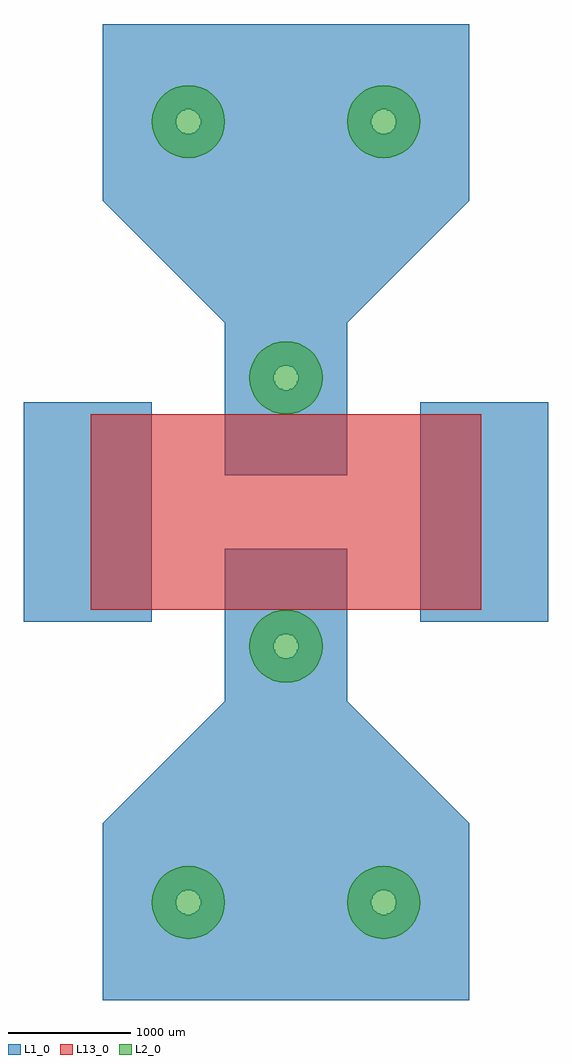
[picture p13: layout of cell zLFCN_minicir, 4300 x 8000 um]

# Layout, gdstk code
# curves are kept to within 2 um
import gdstk
lib = gdstk.Library(unit=1e-6, precision=1e-09)
def R(c, l, rs):  # rectangles x0, y0, x1, y1
    for r in rs: c.add(gdstk.rectangle(r[:2], r[2:], *l))
def P(c, l, *ps):  # polygons
    for p in ps: c.add(gdstk.Polygon(p, *l))
L1_0 = (1, 0)
L2_0 = (2, 0)
L13_0 = (13, 0)

zlfcn_minicir = lib.new_cell('zLFCN_minicir')
R(zlfcn_minicir, L1_0, [(-2150,-900,-1100,900), (1100,-900,2150,900)])
P(zlfcn_minicir, L1_0, [(780,3100),(770,3110),(750,3110),(710,3150),(710,3170),(700,3180),(700,3220),(710,3230),(710,3250),(750,3290),(770,3290),(780,3300),(820,3300),(830,3290),(850,3290),(890,3250),(890,3230),(900,3220),(900,3180),(890,3170),(890,3150),(850,3110),(830,3110),(820,3100),(800,3100),(800,1850),(1500,2550),(1500,4000),(-1500,4000),(-1500,2550),(-800,1850),(-800,3100),(-820,3100),(-830,3110),(-850,3110),(-890,3150),(-890,3170),(-900,3180),(-900,3220),(-890,3230),(-890,3250),(-850,3290),(-830,3290),(-820,3300),(-780,3300),(-770,3290),(-750,3290),(-710,3250),(-710,3230),(-700,3220),(-700,3180),(-710,3170),(-710,3150),(-750,3110),(-770,3110),(-780,3100),(-800,3100),(-800,1850),(-500,1550),(500,1550),(800,1850),(800,3100)],
  [(-820,-3300),(-830,-3290),(-850,-3290),(-890,-3250),(-890,-3230),(-900,-3220),(-900,-3180),(-890,-3170),(-890,-3150),(-850,-3110),(-830,-3110),(-820,-3100),(-780,-3100),(-770,-3110),(-750,-3110),(-710,-3150),(-710,-3170),(-700,-3180),(-700,-3220),(-710,-3230),(-710,-3250),(-750,-3290),(-770,-3290),(-780,-3300),(-800,-3300),(-800,-4000),(800,-4000),(800,-3300),(780,-3300),(770,-3290),(750,-3290),(710,-3250),(710,-3230),(700,-3220),(700,-3180),(710,-3170),(710,-3150),(750,-3110),(770,-3110),(780,-3100),(820,-3100),(830,-3110),(850,-3110),(890,-3150),(890,-3170),(900,-3180),(900,-3220),(890,-3230),(890,-3250),(850,-3290),(830,-3290),(820,-3300),(800,-3300),(800,-4000),(1500,-4000),(1500,-2550),(500,-1550),(-500,-1550),(-1500,-2550),(-1500,-4000),(-800,-4000),(-800,-3300)],
  [(-20,1000),(-30,1010),(-50,1010),(-90,1050),(-90,1070),(-100,1080),(-100,1120),(-90,1130),(-90,1150),(-50,1190),(-30,1190),(-20,1200),(20,1200),(30,1190),(50,1190),(90,1150),(90,1130),(100,1120),(100,1080),(90,1070),(90,1050),(50,1010),(30,1010),(20,1000),(0,1000),(0,300),(500,300),(500,1550),(-500,1550),(-500,300),(0,300),(0,1000)],
  [(-20,-1200),(-30,-1190),(-50,-1190),(-90,-1150),(-90,-1130),(-100,-1120),(-100,-1080),(-90,-1070),(-90,-1050),(-50,-1010),(-30,-1010),(-20,-1000),(20,-1000),(30,-1010),(50,-1010),(90,-1050),(90,-1070),(100,-1080),(100,-1120),(90,-1130),(90,-1150),(50,-1190),(30,-1190),(20,-1200),(0,-1200),(0,-1550),(500,-1550),(500,-300),(-500,-300),(-500,-1550),(0,-1550),(0,-1200)])
P(zlfcn_minicir, L2_0, [(1100,-3200),(1095.442,-3252.094),(1081.908,-3302.606),(1059.808,-3350),(1029.813,-3392.836),(992.836,-3429.813),(950,-3459.808),(902.606,-3481.908),(852.094,-3495.442),(800,-3500),(747.906,-3495.442),(697.394,-3481.908),(650,-3459.808),(607.164,-3429.813),(570.187,-3392.836),(540.192,-3350),(518.092,-3302.606),(504.558,-3252.094),(500,-3200),(504.558,-3147.906),(518.092,-3097.394),(540.192,-3050),(570.187,-3007.164),(607.164,-2970.187),(650,-2940.192),(697.394,-2918.092),(747.906,-2904.558),(800,-2900),(852.094,-2904.558),(902.606,-2918.092),(950,-2940.192),(992.836,-2970.187),(1029.813,-3007.164),(1059.808,-3050),(1081.908,-3097.394),(1095.442,-3147.906)],
  [(-500,3200),(-504.558,3147.906),(-518.092,3097.394),(-540.192,3050),(-570.187,3007.164),(-607.164,2970.187),(-650,2940.192),(-697.394,2918.092),(-747.906,2904.558),(-800,2900),(-852.094,2904.558),(-902.606,2918.092),(-950,2940.192),(-992.836,2970.187),(-1029.813,3007.164),(-1059.808,3050),(-1081.908,3097.394),(-1095.442,3147.906),(-1100,3200),(-1095.442,3252.094),(-1081.908,3302.606),(-1059.808,3350),(-1029.813,3392.836),(-992.836,3429.813),(-950,3459.808),(-902.606,3481.908),(-852.094,3495.442),(-800,3500),(-747.906,3495.442),(-697.394,3481.908),(-650,3459.808),(-607.164,3429.813),(-570.187,3392.836),(-540.192,3350),(-518.092,3302.606),(-504.558,3252.094)],
  [(1100,3200),(1095.442,3147.906),(1081.908,3097.394),(1059.808,3050),(1029.813,3007.164),(992.836,2970.187),(950,2940.192),(902.606,2918.092),(852.094,2904.558),(800,2900),(747.906,2904.558),(697.394,2918.092),(650,2940.192),(607.164,2970.187),(570.187,3007.164),(540.192,3050),(518.092,3097.394),(504.558,3147.906),(500,3200),(504.558,3252.094),(518.092,3302.606),(540.192,3350),(570.187,3392.836),(607.164,3429.813),(650,3459.808),(697.394,3481.908),(747.906,3495.442),(800,3500),(852.094,3495.442),(902.606,3481.908),(950,3459.808),(992.836,3429.813),(1029.813,3392.836),(1059.808,3350),(1081.908,3302.606),(1095.442,3252.094)],
  [(300,-1100),(295.442,-1152.094),(281.908,-1202.606),(259.808,-1250),(229.813,-1292.836),(192.836,-1329.813),(150,-1359.808),(102.606,-1381.908),(52.094,-1395.442),(0,-1400),(-52.094,-1395.442),(-102.606,-1381.908),(-150,-1359.808),(-192.836,-1329.813),(-229.813,-1292.836),(-259.808,-1250),(-281.908,-1202.606),(-295.442,-1152.094),(-300,-1100),(-295.442,-1047.906),(-281.908,-997.394),(-259.808,-950),(-229.813,-907.164),(-192.836,-870.187),(-150,-840.192),(-102.606,-818.092),(-52.094,-804.558),(0,-800),(52.094,-804.558),(102.606,-818.092),(150,-840.192),(192.836,-870.187),(229.813,-907.164),(259.808,-950),(281.908,-997.394),(295.442,-1047.906)],
  [(300,1100),(295.442,1047.906),(281.908,997.394),(259.808,950),(229.813,907.164),(192.836,870.187),(150,840.192),(102.606,818.092),(52.094,804.558),(0,800),(-52.094,804.558),(-102.606,818.092),(-150,840.192),(-192.836,870.187),(-229.813,907.164),(-259.808,950),(-281.908,997.394),(-295.442,1047.906),(-300,1100),(-295.442,1152.094),(-281.908,1202.606),(-259.808,1250),(-229.813,1292.836),(-192.836,1329.813),(-150,1359.808),(-102.606,1381.908),(-52.094,1395.442),(0,1400),(52.094,1395.442),(102.606,1381.908),(150,1359.808),(192.836,1329.813),(229.813,1292.836),(259.808,1250),(281.908,1202.606),(295.442,1152.094)],
  [(-500,-3200),(-504.558,-3252.094),(-518.092,-3302.606),(-540.192,-3350),(-570.187,-3392.836),(-607.164,-3429.813),(-650,-3459.808),(-697.394,-3481.908),(-747.906,-3495.442),(-800,-3500),(-852.094,-3495.442),(-902.606,-3481.908),(-950,-3459.808),(-992.836,-3429.813),(-1029.813,-3392.836),(-1059.808,-3350),(-1081.908,-3302.606),(-1095.442,-3252.094),(-1100,-3200),(-1095.442,-3147.906),(-1081.908,-3097.394),(-1059.808,-3050),(-1029.813,-3007.164),(-992.836,-2970.187),(-950,-2940.192),(-902.606,-2918.092),(-852.094,-2904.558),(-800,-2900),(-747.906,-2904.558),(-697.394,-2918.092),(-650,-2940.192),(-607.164,-2970.187),(-570.187,-3007.164),(-540.192,-3050),(-518.092,-3097.394),(-504.558,-3147.906)])
R(zlfcn_minicir, L13_0, [(-1600,-800,1600,800)])
zlfcn_minicir.add(gdstk.FlexPath([(1600,800),(1600,-800)], 0, ends="round", simple_path=True, layer=1, datatype=0))  # L1_0
zlfcn_minicir.add(gdstk.FlexPath([(-1600,-800),(-1600,800)], 0, ends="round", simple_path=True, layer=1, datatype=0))  # L1_0

lib.write_gds('zLFCN_minicir.gds')
